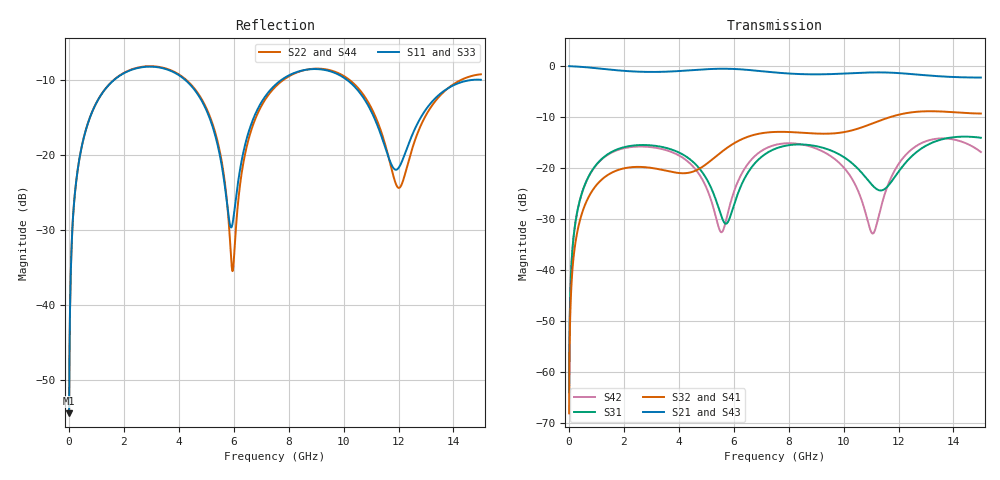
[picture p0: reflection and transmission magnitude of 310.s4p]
! Created with skrf 1.8.0 (http://scikit-rf.org).
# GHz S RI R 50.0
!freq ReS11 ImS11 ReS12 ImS12 ReS13 ImS13
! ReS14 ImS14
! ReS21 ImS21 ReS22 ImS22 ReS23 ImS23
! ReS24 ImS24
! ReS31 ImS31 ReS32 ImS32 ReS33 ImS33
! ReS34 ImS34
! ReS41 ImS41 ReS42 ImS42 ReS43 ImS43
! ReS44 ImS44
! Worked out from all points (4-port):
!   2499 points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, 5 MHz to 15 GHz, reference 50 ohm
!   strongest paths, dB at 5 MHz, 3.476 GHz, 7.19 GHz, 11.1 GHz, 15 GHz:
!     S21: 0.0, -1.1, -1.1, -1.2, -2.2
!     S43: 0.0, -1.1, -1.1, -1.2, -2.3
!     S32: -68.1, -20.4, -13.0, -11.1, -9.3
!     S41: -68.1, -20.5, -13.1, -11.1, -9.4
!     S31: -64.0, -16.0, -17.1, -23.6, -14.1
!     S42: -64.0, -16.4, -16.1, -32.7, -16.9
!   lowest |S11| = -54.4 dB at 5 MHz (marker M1), VSWR 1.00, Z = 50.2 + j0.115 ohm
!   |S11| at or under -10 dB: start of sweep to 1.639 GHz; 4.238 GHz to 7.731 GHz (3.493 GHz wide, 58.4 % of centre); 10.13 GHz to 14.65 GHz (4.516 GHz wide, 36.4 % of centre)
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0.005  0.00151 0.00114  0.9985 -0.00294  7.64e-05 0.000625  -7.41e-05 -0.000387
       0.9985 -0.00294  0.00151 0.00114  -7.41e-05 -0.000387  7.63e-05 0.000625
       7.64e-05 0.000625  -7.41e-05 -0.000387  0.00151 0.00114  0.9985 -0.00294
       -7.41e-05 -0.000387  7.63e-05 0.000625  0.9985 -0.00294  0.00151 0.00114
0.3126303  0.0209 0.0758  0.9714 -0.1836  0.0101 0.0373  -0.00816 -0.023
           0.9714 -0.1836  0.021 0.0758  -0.00817 -0.023  0.00956 0.0375
           0.0101 0.0373  -0.00817 -0.023  0.0209 0.0758  0.9714 -0.1836
           -0.00816 -0.023  0.00956 0.0375  0.9714 -0.1836  0.021 0.0758
1.569404  0.2465 0.1849  0.5948 -0.7011  0.1289 0.066  -0.0893 -0.0138
          0.5948 -0.7011  0.2489 0.1835  -0.0895 -0.0136  0.121 0.0755
          0.1289 0.066  -0.0895 -0.0136  0.2464 0.185  0.5948 -0.7011
          -0.0893 -0.0138  0.121 0.0755  0.5948 -0.7011  0.2491 0.1835
5.964985  0.0335 0.012  -0.9368 -0.0538  -0.0182 0.0356  -0.00705 0.1719
          -0.9368 -0.0538  0.0169 0.0013  -0.00289 0.172  0.0327 0.0432
          -0.0182 0.0356  -0.00289 0.172  0.0343 0.0103  -0.9368 -0.0541
          -0.00705 0.1719  0.0327 0.0432  -0.9368 -0.0541  0.0165 -0.000144
9.291371  0.3672 -0.044  0.0301 0.8311  0.116 -0.1058  0.2064 -0.0601
          0.0301 0.8311  0.3716 -0.0426  0.206 -0.069  0.1197 -0.0787
          0.116 -0.1058  0.206 -0.069  0.3645 -0.0418  0.0313 0.8316
          0.2064 -0.0601  0.1197 -0.0787  0.0313 0.8316  0.3711 -0.0454
11.98624  0.081 0.00705  0.8486 0.1026  -0.0163 0.0895  0.0389 -0.3308
          0.8486 0.1026  0.0599 -0.00924  0.0235 -0.3319  0.0152 0.1069
          -0.0163 0.0895  0.0235 -0.3319  0.0837 0.00906  0.8489 0.0991
          0.0389 -0.3308  0.0152 0.1069  0.8489 0.0991  0.0571 -0.00438
15  0.3175 0.000251  0.1422 -0.7594  0.1286 -0.151  -0.3388 -0.0183
    0.1422 -0.7594  0.345 0.0164  -0.3427 0.00336  0.1262 -0.0686
    0.1286 -0.151  -0.3427 0.00336  0.3198 0.00607  0.138 -0.7577
    -0.3388 -0.0183  0.1262 -0.0686  0.138 -0.7577  0.3544 0.0112
